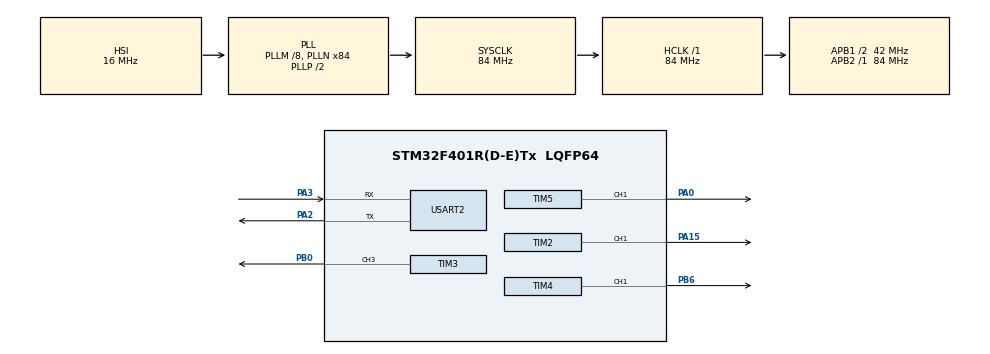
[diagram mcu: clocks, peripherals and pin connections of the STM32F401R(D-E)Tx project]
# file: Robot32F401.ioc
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Mcu.Family=STM32F4
Mcu.Name=STM32F401R(D-E)Tx
Mcu.Package=LQFP64
NVIC.PriorityGroup=NVIC_PRIORITYGROUP_4
NVIC.TIM1_UP_TIM10_IRQn=true\:0\:0\:false\:false\:true\:true\:true
PA0-WKUP.Signal=S_TIM5_CH1
PA13.Mode=Serial_Wire
PA13.Signal=SYS_JTMS-SWDIO
PA14.Mode=Serial_Wire
PA14.Signal=SYS_JTCK-SWCLK
PA15.Signal=S_TIM2_CH1_ETR
PA2.Mode=Asynchronous
PA2.Signal=USART2_TX
PA3.Mode=Asynchronous
PA3.Signal=USART2_RX
PB0.Signal=S_TIM3_CH3
PB6.Signal=S_TIM4_CH1
ProjectManager.HeapSize=0x200
ProjectManager.StackSize=0x400
ProjectManager.TargetToolchain=MDK-ARM V5.32
RCC.48MHZClocksFreq_Value=42000000
RCC.AHBFreq_Value=84000000
RCC.APB1CLKDivider=RCC_HCLK_DIV2
RCC.APB1Freq_Value=42000000
RCC.APB1TimFreq_Value=84000000
RCC.APB2Freq_Value=84000000
RCC.APB2TimFreq_Value=84000000
RCC.CortexFreq_Value=84000000
RCC.HCLKFreq_Value=84000000
RCC.HSE_VALUE=25000000
RCC.HSI_VALUE=16000000
RCC.LSE_VALUE=32768
RCC.PLLM=8
RCC.PLLN=84
RCC.SYSCLKFreq_VALUE=84000000
RCC.SYSCLKSource=RCC_SYSCLKSOURCE_PLLCLK
RCC.VCOOutputFreq_Value=168000000
SH.S_TIM2_CH1_ETR.0=TIM2_CH1,PWM Generation1 CH1
SH.S_TIM3_CH3.0=TIM3_CH3,PWM Generation3 CH3
SH.S_TIM4_CH1.0=TIM4_CH1,PWM Generation1 CH1
SH.S_TIM5_CH1.0=TIM5_CH1,PWM Generation1 CH1
TIM1.Period=50000-1
TIM1.Prescaler=336-1
TIM2.Channel-PWM\ Generation1\ CH1=TIM_CHANNEL_1
TIM2.OC1Preload_PWM=DISABLE
TIM2.Period=500-1
TIM2.Prescaler=336-1
TIM2.TIM_MasterOutputTrigger=TIM_TRGO_RESET
TIM3.AutoReloadPreload=TIM_AUTORELOAD_PRELOAD_DISABLE
TIM3.Channel-PWM\ Generation3\ CH3=TIM_CHANNEL_3
TIM3.OC3Preload_PWM=DISABLE
TIM3.Period=500-1
TIM3.Prescaler=336-1
TIM4.Channel-PWM\ Generation1\ CH1=TIM_CHANNEL_1
TIM4.OC1Preload_PWM=DISABLE
TIM4.Period=500-1
TIM4.Prescaler=336-1
TIM5.Channel-PWM\ Generation1\ CH1=TIM_CHANNEL_1
TIM5.OC1Preload_PWM=DISABLE
TIM5.Period=500-1
TIM5.Prescaler=336-1
USART2.VirtualMode=VM_ASYNC
VP_TIM1_VS_ClockSourceINT.Mode=Internal
board=custom

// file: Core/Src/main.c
/* USER CODE BEGIN Header */
/**
  ******************************************************************************
  * @file           : main.c
  * @brief          : Main program body
  ******************************************************************************
  * @attention
  *
  * Copyright (c) 2024 STMicroelectronics.
  * All rights reserved.
  *
  * This software is licensed under terms that can be found in the LICENSE file
  * in the root directory of this software component.
  * If no LICENSE file comes with this software, it is provided AS-IS.
  *
  ******************************************************************************
  */
/* USER CODE END Header */
#include "main.h"

/* USER CODE BEGIN Includes */
#include "PWMEngineControl.h"
/* USER CODE END Includes */

/* USER CODE BEGIN PD */
#define RX_BUF_LEN 2
//#define HIGH1 HAL_GPIO_WritePin(GPIOD, GPIO_PIN_9, GPIO_PIN_SET)
//#define LOW1  HAL_GPIO_WritePin(GPIOD, GPIO_PIN_9, GPIO_PIN_RESET)
/* USER CODE END PD */

TIM_HandleTypeDef htim1;
TIM_HandleTypeDef htim2;
TIM_HandleTypeDef htim3;
TIM_HandleTypeDef htim4;
TIM_HandleTypeDef htim5;

UART_HandleTypeDef huart2;

/* USER CODE BEGIN PV */
uint16_t pwm_value = 0;
int8_t step = 0;
uint8_t  RxBUF[RX_BUF_LEN];
uint8_t  RxBUF_Old[RX_BUF_LEN];
/* USER CODE END PV */

void SystemClock_Config(void);
static void MX_GPIO_Init(void);
static void MX_TIM3_Init(void);
static void MX_TIM4_Init(void);
static void MX_TIM1_Init(void);
static void MX_TIM2_Init(void);
static void MX_TIM5_Init(void);
static void MX_USART2_UART_Init(void);

int main(void)
{

  /* MCU Configuration--------------------------------------------------------*/

  /* Reset of all peripherals, Initializes the Flash interface and the Systick. */
  HAL_Init();

  /* Configure the system clock */
  SystemClock_Config();

  /* Initialize all configured peripherals */
  MX_GPIO_Init();
  MX_TIM3_Init();
  MX_TIM4_Init();
  MX_TIM1_Init();
  MX_TIM2_Init();
  MX_TIM5_Init();
  MX_USART2_UART_Init();
  /* USER CODE BEGIN 2 */
	setPWMRightD(0);
	setPWMLeftD(0);
	setPWMRightR(0);
	setPWMLeftR(0);
	startPWMLeftR();
	startPwmRightR();
	startPWMLeftD();
	startPwmRightD();

	HAL_TIM_Base_Start_IT(&htim1);
  /* USER CODE END 2 */

  /* Infinite loop */
  while (1)
  {

    /* USER CODE BEGIN 3 */
		if(HAL_UART_Receive(&huart2, (uint8_t *)&RxBUF,RX_BUF_LEN,HAL_MAX_DELAY)== HAL_OK)
		{
		if(RxBUF[0] != 0)
		{
			__HAL_TIM_SET_COUNTER(&htim1,0x0000);
			test(RxBUF);
			memset(RxBUF,'\0',RX_BUF_LEN);
		}
		}
  }
  /* USER CODE END 3 */
}

void SystemClock_Config(void)
{
  RCC_OscInitTypeDef RCC_OscInitStruct = {0};
  RCC_ClkInitTypeDef RCC_ClkInitStruct = {0};

  /** Configure the main internal regulator output voltage
  */
  __HAL_RCC_PWR_CLK_ENABLE();
  __HAL_PWR_VOLTAGESCALING_CONFIG(PWR_REGULATOR_VOLTAGE_SCALE2);
  /** Initializes the RCC Oscillators according to the specified parameters
  * in the RCC_OscInitTypeDef structure.
  */
  RCC_OscInitStruct.OscillatorType = RCC_OSCILLATORTYPE_HSI;
  RCC_OscInitStruct.HSIState = RCC_HSI_ON;
  RCC_OscInitStruct.HSICalibrationValue = RCC_HSICALIBRATION_DEFAULT;
  RCC_OscInitStruct.PLL.PLLState = RCC_PLL_ON;
  RCC_OscInitStruct.PLL.PLLSource = RCC_PLLSOURCE_HSI;
  RCC_OscInitStruct.PLL.PLLM = 8;
  RCC_OscInitStruct.PLL.PLLN = 84;
  RCC_OscInitStruct.PLL.PLLP = RCC_PLLP_DIV2;
  RCC_OscInitStruct.PLL.PLLQ = 4;
  if (HAL_RCC_OscConfig(&RCC_OscInitStruct) != HAL_OK)
  {
    Error_Handler();
  }
  /** Initializes the CPU, AHB and APB buses clocks
  */
  RCC_ClkInitStruct.ClockType = RCC_CLOCKTYPE_HCLK|RCC_CLOCKTYPE_SYSCLK
                              |RCC_CLOCKTYPE_PCLK1|RCC_CLOCKTYPE_PCLK2;
  RCC_ClkInitStruct.SYSCLKSource = RCC_SYSCLKSOURCE_PLLCLK;
  RCC_ClkInitStruct.AHBCLKDivider = RCC_SYSCLK_DIV1;
  RCC_ClkInitStruct.APB1CLKDivider = RCC_HCLK_DIV2;
  RCC_ClkInitStruct.APB2CLKDivider = RCC_HCLK_DIV1;

  if (HAL_RCC_ClockConfig(&RCC_ClkInitStruct, FLASH_LATENCY_2) != HAL_OK)
  {
    Error_Handler();
  }
}

static void MX_TIM1_Init(void)
{

  TIM_ClockConfigTypeDef sClockSourceConfig = {0};
  TIM_MasterConfigTypeDef sMasterConfig = {0};

  htim1.Instance = TIM1;
  htim1.Init.Prescaler = 336-1;
  htim1.Init.CounterMode = TIM_COUNTERMODE_UP;
  htim1.Init.Period = 50000-1;
  htim1.Init.ClockDivision = TIM_CLOCKDIVISION_DIV1;
  htim1.Init.RepetitionCounter = 0;
  htim1.Init.AutoReloadPreload = TIM_AUTORELOAD_PRELOAD_DISABLE;
  if (HAL_TIM_Base_Init(&htim1) != HAL_OK)
  {
    Error_Handler();
  }
  sClockSourceConfig.ClockSource = TIM_CLOCKSOURCE_INTERNAL;
  if (HAL_TIM_ConfigClockSource(&htim1, &sClockSourceConfig) != HAL_OK)
  {
    Error_Handler();
  }
  sMasterConfig.MasterOutputTrigger = TIM_TRGO_RESET;
  sMasterConfig.MasterSlaveMode = TIM_MASTERSLAVEMODE_DISABLE;
  if (HAL_TIMEx_MasterConfigSynchronization(&htim1, &sMasterConfig) != HAL_OK)
  {
    Error_Handler();
  }

}

static void MX_TIM2_Init(void)
{

  TIM_MasterConfigTypeDef sMasterConfig = {0};
  TIM_OC_InitTypeDef sConfigOC = {0};

  htim2.Instance = TIM2;
  htim2.Init.Prescaler = 336-1;
  htim2.Init.CounterMode = TIM_COUNTERMODE_UP;
  htim2.Init.Period = 500-1;
  htim2.Init.ClockDivision = TIM_CLOCKDIVISION_DIV1;
  htim2.Init.AutoReloadPreload = TIM_AUTORELOAD_PRELOAD_DISABLE;
  if (HAL_TIM_PWM_Init(&htim2) != HAL_OK)
  {
    Error_Handler();
  }
  sMasterConfig.MasterOutputTrigger = TIM_TRGO_RESET;
  sMasterConfig.MasterSlaveMode = TIM_MASTERSLAVEMODE_DISABLE;
  if (HAL_TIMEx_MasterConfigSynchronization(&htim2, &sMasterConfig) != HAL_OK)
  {
    Error_Handler();
  }
  sConfigOC.OCMode = TIM_OCMODE_PWM1;
  sConfigOC.Pulse = 0;
  sConfigOC.OCPolarity = TIM_OCPOLARITY_HIGH;
  sConfigOC.OCFastMode = TIM_OCFAST_DISABLE;
  if (HAL_TIM_PWM_ConfigChannel(&htim2, &sConfigOC, TIM_CHANNEL_1) != HAL_OK)
  {
    Error_Handler();
  }
  __HAL_TIM_DISABLE_OCxPRELOAD(&htim2, TIM_CHANNEL_1);
  HAL_TIM_MspPostInit(&htim2);

}

static void MX_TIM3_Init(void)
{

  TIM_MasterConfigTypeDef sMasterConfig = {0};
  TIM_OC_InitTypeDef sConfigOC = {0};

  htim3.Instance = TIM3;
  htim3.Init.Prescaler = 336-1;
  htim3.Init.CounterMode = TIM_COUNTERMODE_UP;
  htim3.Init.Period = 500-1;
  htim3.Init.ClockDivision = TIM_CLOCKDIVISION_DIV1;
  htim3.Init.AutoReloadPreload = TIM_AUTORELOAD_PRELOAD_DISABLE;
  if (HAL_TIM_PWM_Init(&htim3) != HAL_OK)
  {
    Error_Handler();
  }
  sMasterConfig.MasterOutputTrigger = TIM_TRGO_RESET;
  sMasterConfig.MasterSlaveMode = TIM_MASTERSLAVEMODE_DISABLE;
  if (HAL_TIMEx_MasterConfigSynchronization(&htim3, &sMasterConfig) != HAL_OK)
  {
    Error_Handler();
  }
  sConfigOC.OCMode = TIM_OCMODE_PWM1;
  sConfigOC.Pulse = 0;
  sConfigOC.OCPolarity = TIM_OCPOLARITY_HIGH;
  sConfigOC.OCFastMode = TIM_OCFAST_DISABLE;
  if (HAL_TIM_PWM_ConfigChannel(&htim3, &sConfigOC, TIM_CHANNEL_3) != HAL_OK)
  {
    Error_Handler();
  }
  __HAL_TIM_DISABLE_OCxPRELOAD(&htim3, TIM_CHANNEL_3);
  HAL_TIM_MspPostInit(&htim3);

}

static void MX_TIM4_Init(void)
{

  TIM_MasterConfigTypeDef sMasterConfig = {0};
  TIM_OC_InitTypeDef sConfigOC = {0};

  htim4.Instance = TIM4;
  htim4.Init.Prescaler = 336-1;
  htim4.Init.CounterMode = TIM_COUNTERMODE_UP;
  htim4.Init.Period = 500-1;
  htim4.Init.ClockDivision = TIM_CLOCKDIVISION_DIV1;
  htim4.Init.AutoReloadPreload = TIM_AUTORELOAD_PRELOAD_DISABLE;
  if (HAL_TIM_PWM_Init(&htim4) != HAL_OK)
  {
    Error_Handler();
  }
  sMasterConfig.MasterOutputTrigger = TIM_TRGO_RESET;
  sMasterConfig.MasterSlaveMode = TIM_MASTERSLAVEMODE_DISABLE;
  if (HAL_TIMEx_MasterConfigSynchronization(&htim4, &sMasterConfig) != HAL_OK)
  {
    Error_Handler();
  }
  sConfigOC.OCMode = TIM_OCMODE_PWM1;
  sConfigOC.Pulse = 0;
  sConfigOC.OCPolarity = TIM_OCPOLARITY_HIGH;
  sConfigOC.OCFastMode = TIM_OCFAST_DISABLE;
  if (HAL_TIM_PWM_ConfigChannel(&htim4, &sConfigOC, TIM_CHANNEL_1) != HAL_OK)
  {
    Error_Handler();
  }
  __HAL_TIM_DISABLE_OCxPRELOAD(&htim4, TIM_CHANNEL_1);
  HAL_TIM_MspPostInit(&htim4);

}

static void MX_TIM5_Init(void)
{

  TIM_MasterConfigTypeDef sMasterConfig = {0};
  TIM_OC_InitTypeDef sConfigOC = {0};

  htim5.Instance = TIM5;
  htim5.Init.Prescaler = 336-1;
  htim5.Init.CounterMode = TIM_COUNTERMODE_UP;
  htim5.Init.Period = 500-1;
  htim5.Init.ClockDivision = TIM_CLOCKDIVISION_DIV1;
  htim5.Init.AutoReloadPreload = TIM_AUTORELOAD_PRELOAD_DISABLE;
  if (HAL_TIM_PWM_Init(&htim5) != HAL_OK)
  {
    Error_Handler();
  }
  sMasterConfig.MasterOutputTrigger = TIM_TRGO_RESET;
  sMasterConfig.MasterSlaveMode = TIM_MASTERSLAVEMODE_DISABLE;
  if (HAL_TIMEx_MasterConfigSynchronization(&htim5, &sMasterConfig) != HAL_OK)
  {
    Error_Handler();
  }
  sConfigOC.OCMode = TIM_OCMODE_PWM1;
  sConfigOC.Pulse = 0;
  sConfigOC.OCPolarity = TIM_OCPOLARITY_HIGH;
  sConfigOC.OCFastMode = TIM_OCFAST_DISABLE;
  if (HAL_TIM_PWM_ConfigChannel(&htim5, &sConfigOC, TIM_CHANNEL_1) != HAL_OK)
  {
    Error_Handler();
  }
  __HAL_TIM_DISABLE_OCxPRELOAD(&htim5, TIM_CHANNEL_1);
  HAL_TIM_MspPostInit(&htim5);

}

static void MX_USART2_UART_Init(void)
{

  huart2.Instance = USART2;
  huart2.Init.BaudRate = 115200;
  huart2.Init.WordLength = UART_WORDLENGTH_8B;
  huart2.Init.StopBits = UART_STOPBITS_1;
  huart2.Init.Parity = UART_PARITY_NONE;
  huart2.Init.Mode = UART_MODE_TX_RX;
  huart2.Init.HwFlowCtl = UART_HWCONTROL_NONE;
  huart2.Init.OverSampling = UART_OVERSAMPLING_16;
  if (HAL_UART_Init(&huart2) != HAL_OK)
  {
    Error_Handler();
  }

}

static void MX_GPIO_Init(void)
{

  /* GPIO Ports Clock Enable */
  __HAL_RCC_GPIOA_CLK_ENABLE();
  __HAL_RCC_GPIOB_CLK_ENABLE();

}

/* USER CODE BEGIN 4 */
void HAL_TIM_PeriodElapsedCallback(TIM_HandleTypeDef *htim)
{
	if(htim->Instance == TIM1)
	{
		changePwmRightD(0);
		changePWMLeftD(0);
		changePwmRightR(0);
		changePWMLeftR(0);
		//Stop();//
		__HAL_TIM_SET_COUNTER(&htim1,0x0000);
	}
}
/* USER CODE END 4 */

void Error_Handler(void)
{
  __disable_irq();
  while (1)
  {
  }
}
